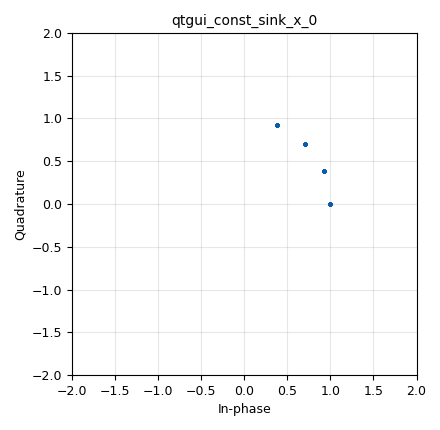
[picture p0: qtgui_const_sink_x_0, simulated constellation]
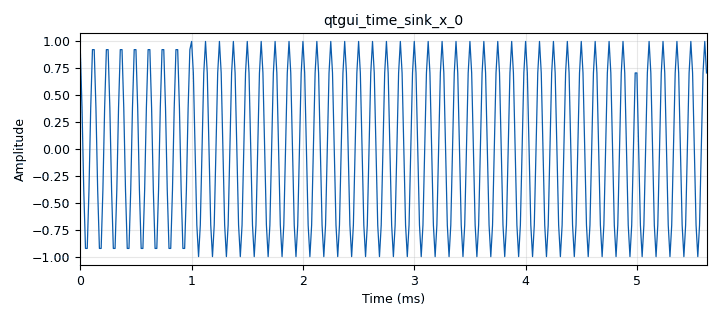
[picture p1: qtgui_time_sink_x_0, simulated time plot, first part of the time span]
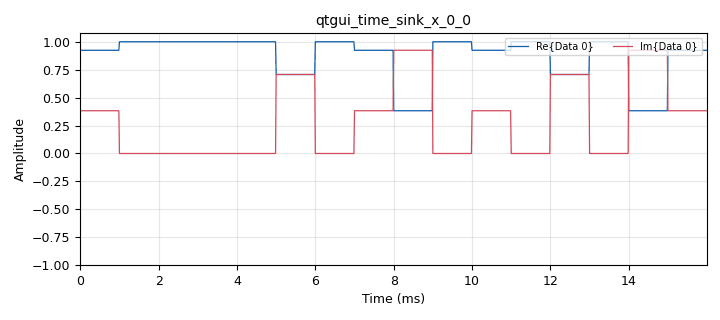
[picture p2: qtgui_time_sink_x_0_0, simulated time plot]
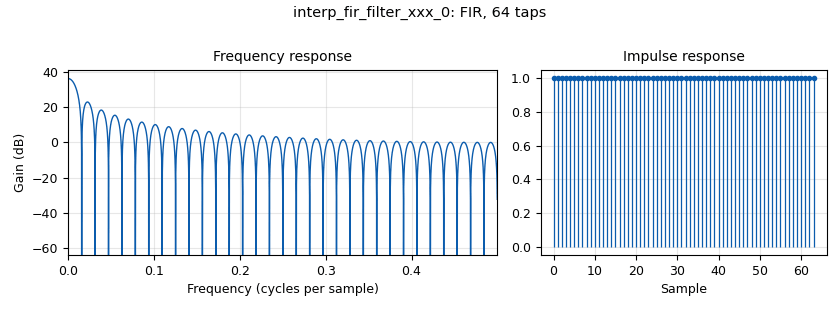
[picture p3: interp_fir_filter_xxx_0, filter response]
options:
  parameters:
    generate_options: qt_gui
    id: psk1
    output_language: python
    title: Not titled yet
  states: {}

blocks:
- name: N
  id: variable
  parameters:
    value: '16'
  states: {}
- name: fc
  id: variable
  parameters:
    value: '8000'
  states: {}
- name: samp_rate
  id: variable
  parameters:
    value: '64000'
  states: {}
- name: analog_random_source_x_0
  id: analog_random_source_x
  parameters:
    max: '4'
    min: '0'
    num_samps: '1024'
    repeat: 'True'
    type: int
  states: {}
- name: analog_sig_source_x_0
  id: analog_sig_source_x
  parameters:
    amp: '1'
    freq: fc
    offset: '0'
    phase: '0'
    samp_rate: samp_rate
    type: complex
    waveform: analog.GR_COS_WAVE
  states: {}
- name: blocks_complex_to_real_0
  id: blocks_complex_to_real
  parameters: {}
  states: {}
- name: blocks_multiply_xx_0
  id: blocks_multiply_xx
  parameters:
    type: complex
  states: {}
- name: blocks_throttle2_0
  id: blocks_throttle2
  parameters:
    samples_per_second: samp_rate
    type: complex
  states: {}
- name: digital_chunks_to_symbols_xx_0
  id: digital_chunks_to_symbols_xx
  parameters:
    dimension: '1'
    in_type: int
    out_type: complex
    symbol_table: numpy.exp(1j*2*numpy.pi*numpy.arange(N)/N)
  states: {}
- name: import_0
  id: import
  parameters:
    imports: import numpy
  states: {}
- name: interp_fir_filter_xxx_0
  id: interp_fir_filter_xxx
  parameters:
    interp: samp_rate // 1000
    taps: numpy.ones(samp_rate // 1000)
    type: ccf
  states: {}
- name: qtgui_const_sink_x_0
  id: qtgui_const_sink_x
  parameters:
    size: '1024'
    type: complex
  states: {}
- name: qtgui_time_sink_x_0
  id: qtgui_time_sink_x
  parameters:
    size: '1024'
    srate: samp_rate
    type: float
  states: {}
- name: qtgui_time_sink_x_0_0
  id: qtgui_time_sink_x
  parameters:
    size: '1024'
    srate: samp_rate
    type: complex
  states: {}
- name: qtgui_time_sink_x_0_1
  id: qtgui_time_sink_x
  parameters:
    size: '1024'
    srate: samp_rate
    type: complex
  states: {state: disabled}
- name: virtual_sink_0
  id: virtual_sink
  parameters:
    stream_id: psk_baseband
  states: {}
- name: virtual_source_0
  id: virtual_source
  parameters:
    stream_id: psk_baseband
  states: {}

connections:
- [analog_random_source_x_0, '0', digital_chunks_to_symbols_xx_0, '0']
- [analog_sig_source_x_0, '0', blocks_multiply_xx_0, '1']
- [blocks_complex_to_real_0, '0', qtgui_time_sink_x_0, '0']
- [blocks_multiply_xx_0, '0', blocks_complex_to_real_0, '0']
- [blocks_throttle2_0, '0', interp_fir_filter_xxx_0, '0']
- [blocks_throttle2_0, '0', qtgui_const_sink_x_0, '0']
- [blocks_throttle2_0, '0', qtgui_time_sink_x_0_1, '0']
- [digital_chunks_to_symbols_xx_0, '0', blocks_throttle2_0, '0']
- [interp_fir_filter_xxx_0, '0', qtgui_time_sink_x_0_0, '0']
- [interp_fir_filter_xxx_0, '0', virtual_sink_0, '0']
- [virtual_source_0, '0', blocks_multiply_xx_0, '0']

metadata:
  file_format: 1
  grc_version: 3.10.12.0
